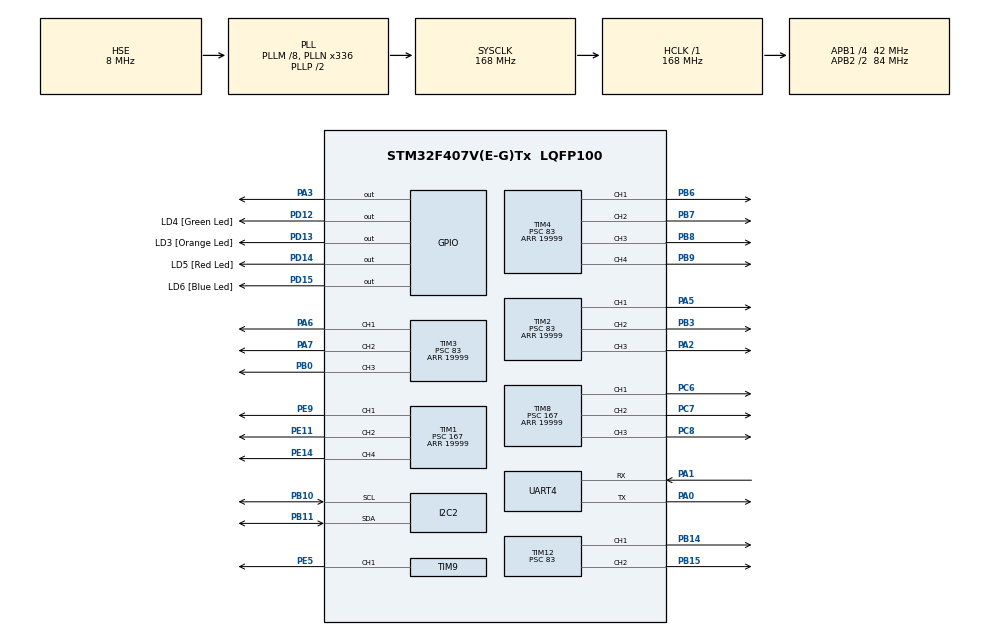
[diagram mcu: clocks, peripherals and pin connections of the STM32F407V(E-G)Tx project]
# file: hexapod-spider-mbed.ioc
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I2C2.I2C_Mode=I2C_Fast
Mcu.Family=STM32F4
Mcu.Name=STM32F407V(E-G)Tx
Mcu.Package=LQFP100
NVIC.PriorityGroup=NVIC_PRIORITYGROUP_0
NVIC.UART4_IRQn=true\:0\:0\:false\:false\:true\:true\:true\:true
PA0-WKUP.GPIO_PuPd=GPIO_PULLDOWN
PA0-WKUP.Mode=Asynchronous
PA0-WKUP.Signal=UART4_TX
PA1.GPIO_PuPd=GPIO_PULLDOWN
PA1.Mode=Asynchronous
PA1.Signal=UART4_RX
PA2.GPIO_PuPd=GPIO_PULLDOWN
PA2.GPIO_Speed=GPIO_SPEED_FREQ_HIGH
PA2.Signal=S_TIM2_CH3
PA3.GPIO_PuPd=GPIO_PULLDOWN
PA3.Signal=GPIO_Output
PA5.GPIO_PuPd=GPIO_PULLDOWN
PA5.GPIO_Speed=GPIO_SPEED_FREQ_HIGH
PA5.Signal=S_TIM2_CH1_ETR
PA6.GPIO_PuPd=GPIO_PULLDOWN
PA6.GPIO_Speed=GPIO_SPEED_FREQ_HIGH
PA6.Signal=S_TIM3_CH1
PA7.GPIO_PuPd=GPIO_PULLDOWN
PA7.GPIO_Speed=GPIO_SPEED_FREQ_HIGH
PA7.Signal=S_TIM3_CH2
PB0.GPIO_PuPd=GPIO_PULLDOWN
PB0.GPIO_Speed=GPIO_SPEED_FREQ_HIGH
PB0.Signal=S_TIM3_CH3
PB10.Mode=I2C
PB10.Signal=I2C2_SCL
PB11.Mode=I2C
PB11.Signal=I2C2_SDA
PB14.GPIO_PuPd=GPIO_PULLDOWN
PB14.GPIO_Speed=GPIO_SPEED_FREQ_HIGH
PB14.Signal=S_TIM12_CH1
PB15.GPIO_PuPd=GPIO_PULLDOWN
PB15.GPIO_Speed=GPIO_SPEED_FREQ_HIGH
PB15.Signal=S_TIM12_CH2
PB3.GPIO_PuPd=GPIO_PULLDOWN
PB3.GPIO_Speed=GPIO_SPEED_FREQ_HIGH
PB3.Signal=S_TIM2_CH2
PB6.GPIO_PuPd=GPIO_PULLDOWN
PB6.GPIO_Speed=GPIO_SPEED_FREQ_HIGH
PB6.Signal=S_TIM4_CH1
PB7.GPIO_PuPd=GPIO_PULLDOWN
PB7.GPIO_Speed=GPIO_SPEED_FREQ_HIGH
PB7.Signal=S_TIM4_CH2
PB8.GPIO_PuPd=GPIO_PULLDOWN
PB8.GPIO_Speed=GPIO_SPEED_FREQ_HIGH
PB8.Signal=S_TIM4_CH3
PB9.Signal=S_TIM4_CH4
PC14-OSC32_IN.GPIO_Label=PC14-OSC32_IN
PC14-OSC32_IN.Mode=LSE-External-Oscillator
PC14-OSC32_IN.Signal=RCC_OSC32_IN
PC15-OSC32_OUT.GPIO_Label=PC15-OSC32_OUT
PC15-OSC32_OUT.Mode=LSE-External-Oscillator
PC15-OSC32_OUT.Signal=RCC_OSC32_OUT
PC6.GPIO_PuPd=GPIO_PULLDOWN
PC6.GPIO_Speed=GPIO_SPEED_FREQ_HIGH
PC6.Signal=S_TIM8_CH1
PC7.GPIO_PuPd=GPIO_PULLDOWN
PC7.GPIO_Speed=GPIO_SPEED_FREQ_HIGH
PC7.Signal=S_TIM8_CH2
PC8.GPIO_PuPd=GPIO_PULLDOWN
PC8.GPIO_Speed=GPIO_SPEED_FREQ_HIGH
PC8.Signal=S_TIM8_CH3
PC9.GPIO_PuPd=GPIO_PULLDOWN
PC9.GPIO_Speed=GPIO_SPEED_FREQ_HIGH
PC9.Signal=S_TIM8_CH4
PD12.GPIO_Label=LD4 [Green Led]
PD12.GPIO_PuPd=GPIO_NOPULL
PD12.GPIO_Speed=GPIO_SPEED_FREQ_LOW
PD12.PinState=GPIO_PIN_SET
PD12.Signal=GPIO_Output
PD13.GPIO_Label=LD3 [Orange Led]
PD13.GPIO_PuPd=GPIO_NOPULL
PD13.GPIO_Speed=GPIO_SPEED_FREQ_LOW
PD13.PinState=GPIO_PIN_SET
PD13.Signal=GPIO_Output
PD14.GPIO_Label=LD5 [Red Led]
PD14.GPIO_PuPd=GPIO_NOPULL
PD14.GPIO_Speed=GPIO_SPEED_FREQ_LOW
PD14.PinState=GPIO_PIN_SET
PD14.Signal=GPIO_Output
PD15.GPIO_Label=LD6 [Blue Led]
PD15.GPIO_PuPd=GPIO_NOPULL
PD15.GPIO_Speed=GPIO_SPEED_FREQ_LOW
PD15.PinState=GPIO_PIN_SET
PD15.Signal=GPIO_Output
PE11.GPIO_PuPd=GPIO_PULLDOWN
PE11.GPIO_Speed=GPIO_SPEED_FREQ_HIGH
PE11.Signal=S_TIM1_CH2
PE14.GPIO_Speed=GPIO_SPEED_FREQ_HIGH
PE14.Signal=S_TIM1_CH4
PE5.GPIO_PuPd=GPIO_PULLDOWN
PE5.GPIO_Speed=GPIO_SPEED_FREQ_HIGH
PE5.Signal=S_TIM9_CH1
PE9.GPIO_PuPd=GPIO_PULLDOWN
PE9.GPIO_Speed=GPIO_SPEED_FREQ_HIGH
PE9.Signal=S_TIM1_CH1
PH0-OSC_IN.GPIO_Label=PH0-OSC_IN
PH0-OSC_IN.Mode=HSE-External-Oscillator
PH0-OSC_IN.Signal=RCC_OSC_IN
PH1-OSC_OUT.GPIO_Label=PH1-OSC_OUT
PH1-OSC_OUT.Mode=HSE-External-Oscillator
PH1-OSC_OUT.Signal=RCC_OSC_OUT
ProjectManager.HeapSize=0x200
ProjectManager.StackSize=0x400
ProjectManager.TargetToolchain=STM32CubeIDE
RCC.48MHZClocksFreq_Value=48000000
RCC.AHBFreq_Value=168000000
RCC.APB1CLKDivider=RCC_HCLK_DIV4
RCC.APB1Freq_Value=42000000
RCC.APB1TimFreq_Value=84000000
RCC.APB2CLKDivider=RCC_HCLK_DIV2
RCC.APB2Freq_Value=84000000
RCC.APB2TimFreq_Value=168000000
RCC.CortexFreq_Value=168000000
RCC.HCLKFreq_Value=168000000
RCC.HSE_VALUE=8000000
RCC.HSI_VALUE=16000000
RCC.PLLM=8
RCC.PLLN=336
RCC.PLLQ=7
RCC.PLLSourceVirtual=RCC_PLLSOURCE_HSE
RCC.SYSCLKFreq_VALUE=168000000
RCC.SYSCLKSource=RCC_SYSCLKSOURCE_PLLCLK
RCC.VCOOutputFreq_Value=336000000
SH.S_TIM12_CH1.0=TIM12_CH1,PWM Generation1 CH1
SH.S_TIM12_CH2.0=TIM12_CH2,PWM Generation2 CH2
SH.S_TIM1_CH1.0=TIM1_CH1,PWM Generation1 CH1
SH.S_TIM1_CH2.0=TIM1_CH2,PWM Generation2 CH2
SH.S_TIM1_CH4.0=TIM1_CH4,PWM Generation4 CH4
SH.S_TIM2_CH1_ETR.0=TIM2_CH1,PWM Generation1 CH1
SH.S_TIM2_CH2.0=TIM2_CH2,PWM Generation2 CH2
SH.S_TIM2_CH3.0=TIM2_CH3,PWM Generation3 CH3
SH.S_TIM3_CH1.0=TIM3_CH1,PWM Generation1 CH1
SH.S_TIM3_CH2.0=TIM3_CH2,PWM Generation2 CH2
SH.S_TIM3_CH3.0=TIM3_CH3,PWM Generation3 CH3
SH.S_TIM4_CH1.0=TIM4_CH1,PWM Generation1 CH1
SH.S_TIM4_CH2.0=TIM4_CH2,PWM Generation2 CH2
SH.S_TIM4_CH3.0=TIM4_CH3,PWM Generation3 CH3
SH.S_TIM4_CH4.0=TIM4_CH4,PWM Generation4 CH4
SH.S_TIM8_CH1.0=TIM8_CH1,PWM Generation1 CH1
SH.S_TIM8_CH2.0=TIM8_CH2,PWM Generation2 CH2
SH.S_TIM8_CH3.0=TIM8_CH3,PWM Generation3 CH3
SH.S_TIM8_CH4.0=TIM8_CH4
SH.S_TIM9_CH1.0=TIM9_CH1,PWM Generation1 CH1
TIM1.Channel-PWM\ Generation1\ CH1=TIM_CHANNEL_1
TIM1.Channel-PWM\ Generation2\ CH2=TIM_CHANNEL_2
TIM1.Channel-PWM\ Generation4\ CH4=TIM_CHANNEL_4
TIM1.Period=19999
TIM1.Prescaler=167
TIM12.Channel-PWM\ Generation1\ CH1=TIM_CHANNEL_1
TIM12.Channel-PWM\ Generation2\ CH2=TIM_CHANNEL_2
TIM12.Period=19999
TIM12.Prescaler=83
TIM2.Channel-PWM\ Generation1\ CH1=TIM_CHANNEL_1
TIM2.Channel-PWM\ Generation2\ CH2=TIM_CHANNEL_2
TIM2.Channel-PWM\ Generation3\ CH3=TIM_CHANNEL_3
TIM2.Period=19999
TIM2.Prescaler=83
TIM3.Channel-PWM\ Generation1\ CH1=TIM_CHANNEL_1
TIM3.Channel-PWM\ Generation2\ CH2=TIM_CHANNEL_2
TIM3.Channel-PWM\ Generation3\ CH3=TIM_CHANNEL_3
TIM3.Period=19999
TIM3.Prescaler=83
TIM4.Channel-PWM\ Generation1\ CH1=TIM_CHANNEL_1
TIM4.Channel-PWM\ Generation2\ CH2=TIM_CHANNEL_2
TIM4.Channel-PWM\ Generation3\ CH3=TIM_CHANNEL_3
TIM4.Channel-PWM\ Generation4\ CH4=TIM_CHANNEL_4
TIM4.Period=19999
TIM4.Prescaler=83
TIM8.Channel-PWM\ Generation1\ CH1=TIM_CHANNEL_1
TIM8.Channel-PWM\ Generation2\ CH2=TIM_CHANNEL_2
TIM8.Channel-PWM\ Generation3\ CH3=TIM_CHANNEL_3
TIM8.Period=19999
TIM8.Prescaler=167
TIM9.Channel-PWM\ Generation1\ CH1=TIM_CHANNEL_1
TIM9.Period=19999
TIM9.Prescaler=167
UART4.VirtualMode=Asynchronous
board=STM32F407G-DISC1

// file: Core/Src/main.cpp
/* USER CODE BEGIN Header */
/**
  ******************************************************************************
  * @file           : main.c
  * @brief          : Main program body
  ******************************************************************************
  * @attention
  *
  * <h2><center>&copy; Copyright (c) 2022 STMicroelectronics.
  * All rights reserved.</center></h2>
  *
  * This software component is licensed by ST under BSD 3-Clause license,
  * the "License"; You may not use this file except in compliance with the
  * License. You may obtain a copy of the License at:
  *                        opensource.org/licenses/BSD-3-Clause
  *
  ******************************************************************************
  */
/* USER CODE END Header */
#include "main.h"
#include "hexapod.h"
#include "string.h"
#include "msg.h"
#include "mpu6050.h"
#include "main.h"

/* USER CODE BEGIN PM */
I2C_HandleTypeDef hi2c2;

/* USER CODE END PM */

TIM_HandleTypeDef htim4;
TIM_HandleTypeDef htim1;
TIM_HandleTypeDef htim12;
TIM_HandleTypeDef htim2;
TIM_HandleTypeDef htim3;
TIM_HandleTypeDef htim8;
TIM_HandleTypeDef htim9;
UART_HandleTypeDef huart4;

void SystemClock_Config(void);
static void MX_GPIO_Init(void);
static void MX_TIM4_Init(void);
static void MX_TIM1_Init(void);
static void MX_TIM2_Init(void);
static void MX_UART4_Init(void);
static void MX_TIM12_Init(void);
static void MX_TIM8_Init(void);
static void MX_TIM3_Init(void);
static void MX_TIM9_Init(void);
static void MX_I2C2_Init(void);

/* USER CODE BEGIN PFP */
/* USER CODE BEGIN PFP */
/* USER CODE BEGIN PFP */
#define RXBUFFERSIZE    8
uint8_t receiveBuffer[RXBUFFERSIZE];
uint8_t rData = 0;
int pos = 0;

Direction dir;
bool walkFlag = false;
bool rotateFlag = false;
bool dancingFlag = false;
bool balanceFlag = false;
bool flashFlag = false;

bool cmdFlag = false;
MPU6050_t MPU6050;
Hexapod spider;
/* USER CODE END PFP */

/* USER CODE BEGIN 0 */
void HAL_UART_RxCpltCallback(UART_HandleTypeDef *huart)
{
    if (huart -> Instance == UART4)
    {
        HAL_UART_Receive_IT(&huart4, &rData, 1);

        receiveBuffer[pos++] = rData;

        if(pos == 1 && receiveBuffer[0] != ':'){
			memset(receiveBuffer, 0, 8);
			pos = 0;
        }

        if (rData == '\n')
		{
        	Message_t msg = Message_Parser((char*)receiveBuffer);
			memset(receiveBuffer, 0, 8);
			pos = 0;

        	if(msg.accuracy == true)
        	{
        		HAL_GPIO_WritePin(GPIOA, GPIO_PIN_3, GPIO_PIN_SET);
        		cmdFlag = true;

        		switch (msg.type)
        		{
        			case Cmd_Go_Flash:

        			   flashFlag = true;

        			break;

					case Cmd_Go_Forw:
	    				dir = Direction_Forward;
	    				walkFlag = true;
						break;
					case Cmd_Go_Left:
						dir = Direction_Left;
						walkFlag = true;
						break;
					case Cmd_Go_Rote:
						rotateFlag = true;
						break;
					case Cmd_Go_Rigt:
						dir = Direction_Right;
						walkFlag = true;
						break;
					case Cmd_Go_Back:
						dir = Direction_Back;
						walkFlag = true;
						break;
					case Cmd_Dance:
						dancingFlag = true;
						break;
					case Cmd_Balance:

						if(balanceFlag == false){
							balanceFlag = true;
						}
						else{
							balanceFlag = false;
						}

						break;
					case Cmd_Go_Stop:
						walkFlag = false;
						rotateFlag = false;
						dancingFlag = false;
						break;

					case Cmd_Step_Tx:
						spider.MoveHexapodBodyXYZ(msg.data, 0, 0);
						break;
					case Cmd_Step_Ty:
						spider.MoveHexapodBodyXYZ(0, msg.data, 0);
						break;
					case Cmd_Step_Tz:
						spider.MoveHexapodBodyXYZ(0, 0, msg.data);
						break;

					case Cmd_Step_Rx:
						spider.RotateHexapodBodyXYZ(msg.data, 0, 0);
						break;
					case Cmd_Step_Ry:
						spider.RotateHexapodBodyXYZ(0, msg.data, 0);
						break;
					case Cmd_Step_Rz:
						spider.RotateHexapodBodyXYZ(0, 0, msg.data);
						break;

					case Cmd_Reset:

						  NVIC_SystemReset();

						  while (1)
						  {

						  }

						break;

					default:
						break;
				}

        	}

		}
    }
}
/* USER CODE END 0 */

int main(void)
{
  /* USER CODE BEGIN 1 */
  int time = 0;
  memset(receiveBuffer, 0, 8);
  /* USER CODE END 1 */

  /* MCU Configuration--------------------------------------------------------*/

  /* Reset of all peripherals, Initializes the Flash interface and the Systick. */
  HAL_Init();

  /* Configure the system clock */
  SystemClock_Config();

  /* Initialize all configured peripherals */
  MX_GPIO_Init();
  MX_TIM4_Init();
  MX_TIM2_Init();
  MX_TIM1_Init();
  MX_TIM12_Init();
  MX_TIM8_Init();
  MX_TIM3_Init();
  MX_TIM9_Init();
  MX_UART4_Init();
  MX_I2C2_Init();
  /* USER CODE BEGIN 2 */
  HAL_Delay(100);

  spider = Hexapod();

  HAL_Delay(1000);

  //spider.legs[0].Update();
  //HAL_Delay(500);
  //spider.legs[1].Update();
  //HAL_Delay(500);
  //spider.legs[2].Update();
  //HAL_Delay(500);
 // spider.legs[3].Update();
 // HAL_Delay(500);
  //spider.legs[4].Update();
  //HAL_Delay(500);
 // spider.legs[5].Update();
  //HAL_Delay(500);

  //for (int var = 0; var < 20; ++var) {

	 // myParameters.bodyLocalPosition.z += 1;
	 // HAL_Delay(10);
	//  spider.Update();
  //}

  /* USER CODE END 2 */

  dir = Direction_Forward;

  HAL_UART_Receive_IT(&huart4, &rData, 1);

  while (MPU6050_Init(&hi2c2) == 1);

  HAL_Delay(100);

  /* Infinite loop */
  /* USER CODE BEGIN WHILE */

  while (1)
  {

	if(balanceFlag == true && walkFlag == false && rotateFlag == false)
	{
		spider.Balancing(balanceFlag, MPU6050.theta, MPU6050.gama);
	}

	spider.Dancing(dancingFlag);
	spider.Rotating(rotateFlag);
	spider.Walking(dir, walkFlag, MPU6050.yaw, flashFlag);

	float delay = spider.Update();

	if(delay > 0)
	{
		for(int i = 0; i < delay; i ++)
		{
			MPU6050 = MPU6050_Read_All(&hi2c2);
			HAL_Delay(1);
		}
	}
	else
	{
		MPU6050 = MPU6050_Read_All(&hi2c2);
		HAL_Delay(1);
	}

	if(cmdFlag == true){

		time++;
		if(time == 10){
    		HAL_GPIO_WritePin(GPIOA, GPIO_PIN_3, GPIO_PIN_RESET);
    		cmdFlag = false;
    		time = 0;
		}

	}

	/* USER CODE END WHILE */

  }
}

void SystemClock_Config(void)
{
  RCC_OscInitTypeDef RCC_OscInitStruct = {0};
  RCC_ClkInitTypeDef RCC_ClkInitStruct = {0};

  /** Configure the main internal regulator output voltage
  */
  __HAL_RCC_PWR_CLK_ENABLE();
  __HAL_PWR_VOLTAGESCALING_CONFIG(PWR_REGULATOR_VOLTAGE_SCALE1);
  /** Initializes the RCC Oscillators according to the specified parameters
  * in the RCC_OscInitTypeDef structure.
  */
  RCC_OscInitStruct.OscillatorType = RCC_OSCILLATORTYPE_HSE;
  RCC_OscInitStruct.HSEState = RCC_HSE_ON;
  RCC_OscInitStruct.PLL.PLLState = RCC_PLL_ON;
  RCC_OscInitStruct.PLL.PLLSource = RCC_PLLSOURCE_HSE;
  RCC_OscInitStruct.PLL.PLLM = 8;
  RCC_OscInitStruct.PLL.PLLN = 336;
  RCC_OscInitStruct.PLL.PLLP = RCC_PLLP_DIV2;
  RCC_OscInitStruct.PLL.PLLQ = 7;
  if (HAL_RCC_OscConfig(&RCC_OscInitStruct) != HAL_OK)
  {
    Error_Handler();
  }
  /** Initializes the CPU, AHB and APB buses clocks
  */
  RCC_ClkInitStruct.ClockType = RCC_CLOCKTYPE_HCLK|RCC_CLOCKTYPE_SYSCLK
                              |RCC_CLOCKTYPE_PCLK1|RCC_CLOCKTYPE_PCLK2;
  RCC_ClkInitStruct.SYSCLKSource = RCC_SYSCLKSOURCE_PLLCLK;
  RCC_ClkInitStruct.AHBCLKDivider = RCC_SYSCLK_DIV1;
  RCC_ClkInitStruct.APB1CLKDivider = RCC_HCLK_DIV4;
  RCC_ClkInitStruct.APB2CLKDivider = RCC_HCLK_DIV2;

  if (HAL_RCC_ClockConfig(&RCC_ClkInitStruct, FLASH_LATENCY_5) != HAL_OK)
  {
    Error_Handler();
  }
}

static void MX_I2C2_Init(void)
{

  hi2c2.Instance = I2C2;
  hi2c2.Init.ClockSpeed = 400000;
  hi2c2.Init.DutyCycle = I2C_DUTYCYCLE_2;
  hi2c2.Init.OwnAddress1 = 0;
  hi2c2.Init.AddressingMode = I2C_ADDRESSINGMODE_7BIT;
  hi2c2.Init.DualAddressMode = I2C_DUALADDRESS_DISABLE;
  hi2c2.Init.OwnAddress2 = 0;
  hi2c2.Init.GeneralCallMode = I2C_GENERALCALL_DISABLE;
  hi2c2.Init.NoStretchMode = I2C_NOSTRETCH_DISABLE;
  if (HAL_I2C_Init(&hi2c2) != HAL_OK)
  {
    Error_Handler();
  }
  /* USER CODE BEGIN I2C2_Init 2 */
}

static void MX_TIM1_Init(void)
{

  TIM_MasterConfigTypeDef sMasterConfig = {0};
  TIM_OC_InitTypeDef sConfigOC = {0};
  TIM_BreakDeadTimeConfigTypeDef sBreakDeadTimeConfig = {0};

  htim1.Instance = TIM1;
  htim1.Init.Prescaler = 167;
  htim1.Init.CounterMode = TIM_COUNTERMODE_UP;
  htim1.Init.Period = 19999;
  htim1.Init.ClockDivision = TIM_CLOCKDIVISION_DIV1;
  htim1.Init.RepetitionCounter = 0;
  htim1.Init.AutoReloadPreload = TIM_AUTORELOAD_PRELOAD_DISABLE;
  if (HAL_TIM_PWM_Init(&htim1) != HAL_OK)
  {
    Error_Handler();
  }
  sMasterConfig.MasterOutputTrigger = TIM_TRGO_RESET;
  sMasterConfig.MasterSlaveMode = TIM_MASTERSLAVEMODE_DISABLE;
  if (HAL_TIMEx_MasterConfigSynchronization(&htim1, &sMasterConfig) != HAL_OK)
  {
    Error_Handler();
  }
  sConfigOC.OCMode = TIM_OCMODE_PWM1;
  sConfigOC.Pulse = 0;
  sConfigOC.OCPolarity = TIM_OCPOLARITY_HIGH;
  sConfigOC.OCNPolarity = TIM_OCNPOLARITY_HIGH;
  sConfigOC.OCFastMode = TIM_OCFAST_DISABLE;
  sConfigOC.OCIdleState = TIM_OCIDLESTATE_RESET;
  sConfigOC.OCNIdleState = TIM_OCNIDLESTATE_RESET;
  if (HAL_TIM_PWM_ConfigChannel(&htim1, &sConfigOC, TIM_CHANNEL_1) != HAL_OK)
  {
    Error_Handler();
  }
  if (HAL_TIM_PWM_ConfigChannel(&htim1, &sConfigOC, TIM_CHANNEL_2) != HAL_OK)
  {
    Error_Handler();
  }
  if (HAL_TIM_PWM_ConfigChannel(&htim1, &sConfigOC, TIM_CHANNEL_4) != HAL_OK)
  {
    Error_Handler();
  }
  sBreakDeadTimeConfig.OffStateRunMode = TIM_OSSR_DISABLE;
  sBreakDeadTimeConfig.OffStateIDLEMode = TIM_OSSI_DISABLE;
  sBreakDeadTimeConfig.LockLevel = TIM_LOCKLEVEL_OFF;
  sBreakDeadTimeConfig.DeadTime = 0;
  sBreakDeadTimeConfig.BreakState = TIM_BREAK_DISABLE;
  sBreakDeadTimeConfig.BreakPolarity = TIM_BREAKPOLARITY_HIGH;
  sBreakDeadTimeConfig.AutomaticOutput = TIM_AUTOMATICOUTPUT_DISABLE;
  if (HAL_TIMEx_ConfigBreakDeadTime(&htim1, &sBreakDeadTimeConfig) != HAL_OK)
  {
    Error_Handler();
  }
  HAL_TIM_MspPostInit(&htim1);

}

static void MX_TIM2_Init(void)
{

  TIM_MasterConfigTypeDef sMasterConfig = {0};
  TIM_OC_InitTypeDef sConfigOC = {0};

  htim2.Instance = TIM2;
  htim2.Init.Prescaler = 83;
  htim2.Init.CounterMode = TIM_COUNTERMODE_UP;
  htim2.Init.Period = 19999;
  htim2.Init.ClockDivision = TIM_CLOCKDIVISION_DIV1;
  htim2.Init.AutoReloadPreload = TIM_AUTORELOAD_PRELOAD_DISABLE;
  if (HAL_TIM_PWM_Init(&htim2) != HAL_OK)
  {
    Error_Handler();
  }
  sMasterConfig.MasterOutputTrigger = TIM_TRGO_RESET;
  sMasterConfig.MasterSlaveMode = TIM_MASTERSLAVEMODE_DISABLE;
  if (HAL_TIMEx_MasterConfigSynchronization(&htim2, &sMasterConfig) != HAL_OK)
  {
    Error_Handler();
  }
  sConfigOC.OCMode = TIM_OCMODE_PWM1;
  sConfigOC.Pulse = 0;
  sConfigOC.OCPolarity = TIM_OCPOLARITY_HIGH;
  sConfigOC.OCFastMode = TIM_OCFAST_DISABLE;
  if (HAL_TIM_PWM_ConfigChannel(&htim2, &sConfigOC, TIM_CHANNEL_1) != HAL_OK)
  {
    Error_Handler();
  }
  if (HAL_TIM_PWM_ConfigChannel(&htim2, &sConfigOC, TIM_CHANNEL_2) != HAL_OK)
  {
    Error_Handler();
  }
  if (HAL_TIM_PWM_ConfigChannel(&htim2, &sConfigOC, TIM_CHANNEL_3) != HAL_OK)
  {
    Error_Handler();
  }
  HAL_TIM_MspPostInit(&htim2);

}

static void MX_TIM3_Init(void)
{

  TIM_MasterConfigTypeDef sMasterConfig = {0};
  TIM_OC_InitTypeDef sConfigOC = {0};

  htim3.Instance = TIM3;
  htim3.Init.Prescaler = 83;
  htim3.Init.CounterMode = TIM_COUNTERMODE_UP;
  htim3.Init.Period = 19999;
  htim3.Init.ClockDivision = TIM_CLOCKDIVISION_DIV1;
  htim3.Init.AutoReloadPreload = TIM_AUTORELOAD_PRELOAD_DISABLE;
  if (HAL_TIM_PWM_Init(&htim3) != HAL_OK)
  {
    Error_Handler();
  }
  sMasterConfig.MasterOutputTrigger = TIM_TRGO_RESET;
  sMasterConfig.MasterSlaveMode = TIM_MASTERSLAVEMODE_DISABLE;
  if (HAL_TIMEx_MasterConfigSynchronization(&htim3, &sMasterConfig) != HAL_OK)
  {
    Error_Handler();
  }
  sConfigOC.OCMode = TIM_OCMODE_PWM1;
  sConfigOC.Pulse = 0;
  sConfigOC.OCPolarity = TIM_OCPOLARITY_HIGH;
  sConfigOC.OCFastMode = TIM_OCFAST_DISABLE;
  if (HAL_TIM_PWM_ConfigChannel(&htim3, &sConfigOC, TIM_CHANNEL_1) != HAL_OK)
  {
    Error_Handler();
  }
  if (HAL_TIM_PWM_ConfigChannel(&htim3, &sConfigOC, TIM_CHANNEL_2) != HAL_OK)
  {
    Error_Handler();
  }
  if (HAL_TIM_PWM_ConfigChannel(&htim3, &sConfigOC, TIM_CHANNEL_3) != HAL_OK)
  {
    Error_Handler();
  }
  HAL_TIM_MspPostInit(&htim3);

}

static void MX_TIM4_Init(void)
{

  TIM_MasterConfigTypeDef sMasterConfig = {0};
  TIM_OC_InitTypeDef sConfigOC = {0};

  htim4.Instance = TIM4;
  htim4.Init.Prescaler = 83;
  htim4.Init.CounterMode = TIM_COUNTERMODE_UP;
  htim4.Init.Period = 19999;
  htim4.Init.ClockDivision = TIM_CLOCKDIVISION_DIV1;
  htim4.Init.AutoReloadPreload = TIM_AUTORELOAD_PRELOAD_DISABLE;
  if (HAL_TIM_PWM_Init(&htim4) != HAL_OK)
  {
    Error_Handler();
  }
  sMasterConfig.MasterOutputTrigger = TIM_TRGO_RESET;
  sMasterConfig.MasterSlaveMode = TIM_MASTERSLAVEMODE_DISABLE;
  if (HAL_TIMEx_MasterConfigSynchronization(&htim4, &sMasterConfig) != HAL_OK)
  {
    Error_Handler();
  }
  sConfigOC.OCMode = TIM_OCMODE_PWM1;
  sConfigOC.Pulse = 0;
  sConfigOC.OCPolarity = TIM_OCPOLARITY_HIGH;
  sConfigOC.OCFastMode = TIM_OCFAST_DISABLE;
  if (HAL_TIM_PWM_ConfigChannel(&htim4, &sConfigOC, TIM_CHANNEL_1) != HAL_OK)
  {
    Error_Handler();
  }
  if (HAL_TIM_PWM_ConfigChannel(&htim4, &sConfigOC, TIM_CHANNEL_2) != HAL_OK)
  {
    Error_Handler();
  }
  if (HAL_TIM_PWM_ConfigChannel(&htim4, &sConfigOC, TIM_CHANNEL_3) != HAL_OK)
  {
    Error_Handler();
  }
  if (HAL_TIM_PWM_ConfigChannel(&htim4, &sConfigOC, TIM_CHANNEL_4) != HAL_OK)
  {
    Error_Handler();
  }
  HAL_TIM_MspPostInit(&htim4);

}

static void MX_TIM8_Init(void)
{

  TIM_MasterConfigTypeDef sMasterConfig = {0};
  TIM_OC_InitTypeDef sConfigOC = {0};
  TIM_BreakDeadTimeConfigTypeDef sBreakDeadTimeConfig = {0};

  htim8.Instance = TIM8;
  htim8.Init.Prescaler = 167;
  htim8.Init.CounterMode = TIM_COUNTERMODE_UP;
  htim8.Init.Period = 19999;
  htim8.Init.ClockDivision = TIM_CLOCKDIVISION_DIV1;
  htim8.Init.RepetitionCounter = 0;
  htim8.Init.AutoReloadPreload = TIM_AUTORELOAD_PRELOAD_DISABLE;
  if (HAL_TIM_PWM_Init(&htim8) != HAL_OK)
  {
    Error_Handler();
  }
  sMasterConfig.MasterOutputTrigger = TIM_TRGO_RESET;
  sMasterConfig.MasterSlaveMode = TIM_MASTERSLAVEMODE_DISABLE;
  if (HAL_TIMEx_MasterConfigSynchronization(&htim8, &sMasterConfig) != HAL_OK)
  {
    Error_Handler();
  }
  sConfigOC.OCMode = TIM_OCMODE_PWM1;
  sConfigOC.Pulse = 0;
  sConfigOC.OCPolarity = TIM_OCPOLARITY_HIGH;
  sConfigOC.OCNPolarity = TIM_OCNPOLARITY_HIGH;
  sConfigOC.OCFastMode = TIM_OCFAST_DISABLE;
  sConfigOC.OCIdleState = TIM_OCIDLESTATE_RESET;
  sConfigOC.OCNIdleState = TIM_OCNIDLESTATE_RESET;
  if (HAL_TIM_PWM_ConfigChannel(&htim8, &sConfigOC, TIM_CHANNEL_1) != HAL_OK)
  {
    Error_Handler();
  }
  if (HAL_TIM_PWM_ConfigChannel(&htim8, &sConfigOC, TIM_CHANNEL_2) != HAL_OK)
  {
    Error_Handler();
  }
  if (HAL_TIM_PWM_ConfigChannel(&htim8, &sConfigOC, TIM_CHANNEL_3) != HAL_OK)
  {
    Error_Handler();
  }
  sBreakDeadTimeConfig.OffStateRunMode = TIM_OSSR_DISABLE;
  sBreakDeadTimeConfig.OffStateIDLEMode = TIM_OSSI_DISABLE;
  sBreakDeadTimeConfig.LockLevel = TIM_LOCKLEVEL_OFF;
  sBreakDeadTimeConfig.DeadTime = 0;
  sBreakDeadTimeConfig.BreakState = TIM_BREAK_DISABLE;
  sBreakDeadTimeConfig.BreakPolarity = TIM_BREAKPOLARITY_HIGH;
  sBreakDeadTimeConfig.AutomaticOutput = TIM_AUTOMATICOUTPUT_DISABLE;
  if (HAL_TIMEx_ConfigBreakDeadTime(&htim8, &sBreakDeadTimeConfig) != HAL_OK)
  {
    Error_Handler();
  }
  HAL_TIM_MspPostInit(&htim8);

}

static void MX_TIM12_Init(void)
{

  TIM_OC_InitTypeDef sConfigOC = {0};

  htim12.Instance = TIM12;
  htim12.Init.Prescaler = 83;
  htim12.Init.CounterMode = TIM_COUNTERMODE_UP;
  htim12.Init.Period = 19999;
  htim12.Init.ClockDivision = TIM_CLOCKDIVISION_DIV1;
  htim12.Init.AutoReloadPreload = TIM_AUTORELOAD_PRELOAD_DISABLE;
  if (HAL_TIM_PWM_Init(&htim12) != HAL_OK)
  {
    Error_Handler();
  }
  sConfigOC.OCMode = TIM_OCMODE_PWM1;
  sConfigOC.Pulse = 0;
  sConfigOC.OCPolarity = TIM_OCPOLARITY_HIGH;
  sConfigOC.OCFastMode = TIM_OCFAST_DISABLE;
  if (HAL_TIM_PWM_ConfigChannel(&htim12, &sConfigOC, TIM_CHANNEL_1) != HAL_OK)
  {
    Error_Handler();
  }
  if (HAL_TIM_PWM_ConfigChannel(&htim12, &sConfigOC, TIM_CHANNEL_2) != HAL_OK)
  {
    Error_Handler();
  }
  HAL_TIM_MspPostInit(&htim12);

}

static void MX_TIM9_Init(void)
{

  TIM_OC_InitTypeDef sConfigOC = {0};

  htim9.Instance = TIM9;
  htim9.Init.Prescaler = 167;
  htim9.Init.CounterMode = TIM_COUNTERMODE_UP;
  htim9.Init.Period = 19999;
  htim9.Init.ClockDivision = TIM_CLOCKDIVISION_DIV1;
  htim9.Init.AutoReloadPreload = TIM_AUTORELOAD_PRELOAD_DISABLE;
  if (HAL_TIM_PWM_Init(&htim9) != HAL_OK)
  {
    Error_Handler();
  }
  sConfigOC.OCMode = TIM_OCMODE_PWM1;
  sConfigOC.Pulse = 0;
  sConfigOC.OCPolarity = TIM_OCPOLARITY_HIGH;
  sConfigOC.OCFastMode = TIM_OCFAST_DISABLE;
  if (HAL_TIM_PWM_ConfigChannel(&htim9, &sConfigOC, TIM_CHANNEL_1) != HAL_OK)
  {
    Error_Handler();
  }
  HAL_TIM_MspPostInit(&htim9);

}

static void MX_UART4_Init(void)
{

  huart4.Instance = UART4;
  huart4.Init.BaudRate = 115200;
  huart4.Init.WordLength = UART_WORDLENGTH_8B;
  huart4.Init.StopBits = UART_STOPBITS_1;
  huart4.Init.Parity = UART_PARITY_NONE;
  huart4.Init.Mode = UART_MODE_TX_RX;
  huart4.Init.HwFlowCtl = UART_HWCONTROL_NONE;
  huart4.Init.OverSampling = UART_OVERSAMPLING_16;
  if (HAL_UART_Init(&huart4) != HAL_OK)
  {
    Error_Handler();
  }

}

static void MX_GPIO_Init(void)
{
  GPIO_InitTypeDef GPIO_InitStruct = {0};

  /* GPIO Ports Clock Enable */
  __HAL_RCC_GPIOC_CLK_ENABLE();
  __HAL_RCC_GPIOH_CLK_ENABLE();
  __HAL_RCC_GPIOA_CLK_ENABLE();
  __HAL_RCC_GPIOB_CLK_ENABLE();
  __HAL_RCC_GPIOE_CLK_ENABLE();
  __HAL_RCC_GPIOD_CLK_ENABLE();

  /*Configure GPIO pin Output Level */
  HAL_GPIO_WritePin(GPIOA, GPIO_PIN_3, GPIO_PIN_RESET);

  /*Configure GPIO pin Output Level */
  HAL_GPIO_WritePin(GPIOD, LD4_Pin|LD3_Pin|LD5_Pin|LD6_Pin, GPIO_PIN_SET);

  /*Configure GPIO pin : PA3 */
  GPIO_InitStruct.Pin = GPIO_PIN_3;
  GPIO_InitStruct.Mode = GPIO_MODE_OUTPUT_PP;
  GPIO_InitStruct.Pull = GPIO_PULLDOWN;
  GPIO_InitStruct.Speed = GPIO_SPEED_FREQ_LOW;
  HAL_GPIO_Init(GPIOA, &GPIO_InitStruct);

  /*Configure GPIO pins : LD4_Pin LD3_Pin LD5_Pin LD6_Pin */
  GPIO_InitStruct.Pin = LD4_Pin|LD3_Pin|LD5_Pin|LD6_Pin;
  GPIO_InitStruct.Mode = GPIO_MODE_OUTPUT_PP;
  GPIO_InitStruct.Pull = GPIO_NOPULL;
  GPIO_InitStruct.Speed = GPIO_SPEED_FREQ_LOW;
  HAL_GPIO_Init(GPIOD, &GPIO_InitStruct);

}

void Error_Handler(void)
{
  __disable_irq();
  while (1)
  {
  }
}

/************************ (C) COPYRIGHT STMicroelectronics *****END OF FILE****/
